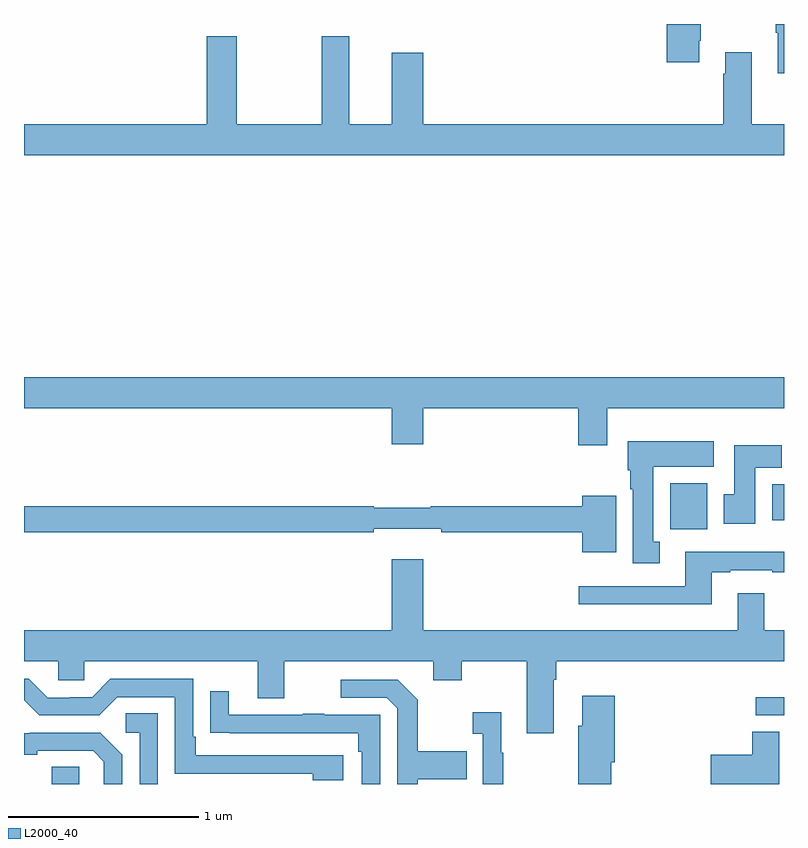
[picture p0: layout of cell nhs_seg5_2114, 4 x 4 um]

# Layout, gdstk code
import gdstk
lib = gdstk.Library(unit=1e-6, precision=1e-09)
def R(c, l, rs):  # rectangles x0, y0, x1, y1
    for r in rs: c.add(gdstk.rectangle(r[:2], r[2:], *l))
def P(c, l, *ps):  # polygons
    for p in ps: c.add(gdstk.Polygon(p, *l))
L2000_40 = (2000, 40)

nhs_seg5_2114 = lib.new_cell('nhs_seg5_2114')
R(nhs_seg5_2114, L2000_40, [(235.145,838.799,235.29,838.889), (238.851,839.16,239,839.256), (238.4,840.14,238.597,840.382), (238.937,840.188,239,840.376)])
P(nhs_seg5_2114, L2000_40, [(239,842.799),(238.956,842.799),(238.956,842.753),(238.967,842.753),(238.967,842.541),(239,842.541)],
  [(238.555,842.71),(238.563,842.71),(238.563,842.799),(238.382,842.799),(238.382,842.598),(238.555,842.598)],
  [(238.691,842.65),(238.691,842.537),(238.679,842.537),(238.679,842.272),(237.1,842.272),(237.1,842.647),(236.936,842.647),(236.936,842.272),(236.713,842.272),(236.713,842.734),(236.566,842.734),(236.566,842.272),(236.121,842.272),(236.121,842.734),(235.961,842.734),(235.961,842.272),(235,842.272),(235,842.108),(239,842.108),(239,842.272),(238.831,842.272),(238.831,842.65)],
  [(238.069,840.776),(239,840.776),(239,840.94),(235,840.94),(235,840.776),(236.936,840.776),(236.936,840.588),(237.1,840.588),(237.1,840.776),(237.917,840.776),(237.917,840.582),(238.069,840.582)],
  [(238.345,840.074),(238.312,840.074),(238.312,840.47),(238.63,840.47),(238.63,840.604),(238.178,840.604),(238.178,840.45),(238.19,840.45),(238.19,840.35),(238.205,840.35),(238.205,839.961),(238.345,839.961)],
  [(238.849,840.464),(238.988,840.464),(238.988,840.583),(238.739,840.583),(238.739,840.324),(238.682,840.324),(238.682,840.168),(238.849,840.168)],
  [(238.117,840.316),(237.938,840.316),(237.938,840.26),(237.142,840.26),(237.142,840.253),(236.842,840.253),(236.842,840.26),(235,840.26),(235,840.124),(236.84,840.124),(236.84,840.143),(237.196,840.143),(237.196,840.124),(237.938,840.124),(237.938,840.02),(238.117,840.02)],
  [(238.621,839.913),(238.717,839.913),(238.717,839.925),(238.937,839.925),(238.937,839.913),(239,839.913),(239,840.022),(238.481,840.022),(238.481,839.841),(237.921,839.841),(237.921,839.744),(238.621,839.744)],
  [(237.787,839.348),(237.8,839.348),(237.8,839.444),(239,839.444),(239,839.608),(238.897,839.608),(238.897,839.803),(238.757,839.803),(238.757,839.608),(237.1,839.608),(237.1,839.983),(236.936,839.983),(236.936,839.608),(235,839.608),(235,839.444),(235.179,839.444),(235.179,839.346),(235.317,839.346),(235.317,839.444),(236.231,839.444),(236.231,839.25),(236.371,839.25),(236.371,839.444),(237.155,839.444),(237.155,839.345),(237.303,839.345),(237.303,839.444),(237.647,839.444),(237.647,839.067),(237.787,839.067)],
  [(236.68,838.95),(235.903,838.95),(235.903,839.047),(235.89,839.047),(235.89,839.352),(235.455,839.352),(235.359,839.256),(235.241,839.256),(235.241,839.253),(235.125,839.253),(235.025,839.353),(235,839.353),(235,839.24),(235.08,839.16),(235.395,839.16),(235.491,839.256),(235.794,839.256),(235.794,838.854),(236.519,838.854),(236.519,838.82),(236.68,838.82)],
  [(237.073,838.823),(237.329,838.823),(237.329,838.971),(237.073,838.971),(237.073,839.243),(236.967,839.349),(236.667,839.349),(236.667,839.253),(236.91,839.253),(236.964,839.199),(236.964,838.799),(237.073,838.799)],
  [(236.874,839.163),(236.579,839.163),(236.579,839.168),(236.467,839.168),(236.467,839.163),(236.077,839.163),(236.077,839.287),(235.981,839.287),(235.981,839.068),(236.083,839.068),(236.083,839.067),(236.758,839.067),(236.758,838.97),(236.778,838.97),(236.778,838.799),(236.874,838.799)],
  [(238.091,838.914),(238.109,838.914),(238.109,839.263),(237.938,839.263),(237.938,839.106),(237.916,839.106),(237.916,838.799),(238.091,838.799)],
  [(237.523,838.963),(237.511,838.963),(237.511,839.176),(237.363,839.176),(237.363,839.063),(237.414,839.063),(237.414,838.799),(237.523,838.799)],
  [(235.704,839.171),(235.536,839.171),(235.536,839.07),(235.608,839.07),(235.608,838.799),(235.704,838.799)],
  [(238.975,839.075),(238.832,839.075),(238.832,838.952),(238.614,838.952),(238.614,838.799),(238.975,838.799)],
  [(235.518,838.954),(235.402,839.07),(235.03,839.07),(235.03,839.067),(235,839.067),(235,838.952),(235.069,838.952),(235.069,838.974),(235.364,838.974),(235.421,838.917),(235.421,838.799),(235.518,838.799)])

lib.write_gds('nhs_seg5_2114.gds')
